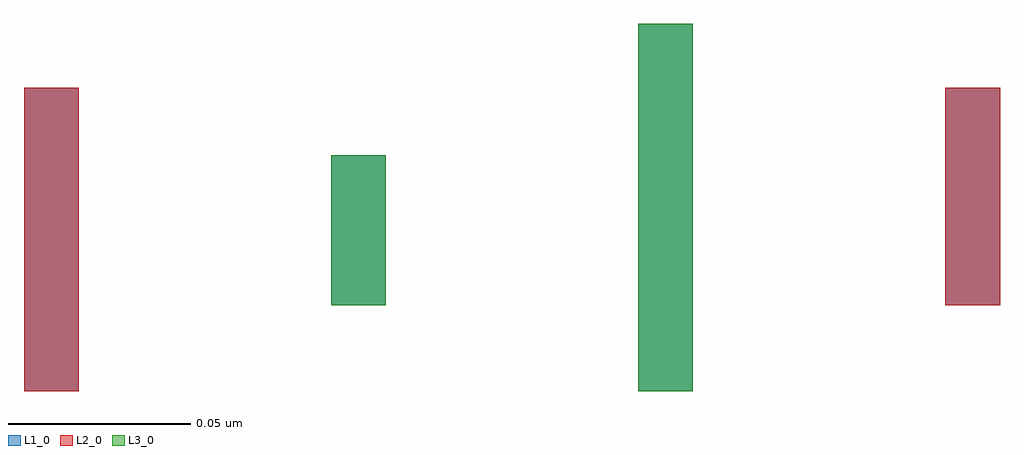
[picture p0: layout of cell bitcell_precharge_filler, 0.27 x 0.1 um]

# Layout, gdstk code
import gdstk
lib = gdstk.Library(unit=1e-6, precision=5e-10)
def R(c, l, rs):  # rectangles x0, y0, x1, y1
    for r in rs: c.add(gdstk.rectangle(r[:2], r[2:], *l))
L1_0 = (1, 0)
L2_0 = (2, 0)
L3_0 = (3, 0)

bitcell_precharge_filler = lib.new_cell('bitcell_precharge_filler')
R(bitcell_precharge_filler, L1_0, [(-0.134,-0.0515,-0.119,0.0315), (0.034,-0.0515,0.049,0.049), (-0.05,-0.028,-0.035,0.013), (0.118,-0.028,0.133,0.0315)])
R(bitcell_precharge_filler, L2_0, [(-0.134,-0.0515,-0.119,0.0315), (0.118,-0.028,0.133,0.0315)])
R(bitcell_precharge_filler, L3_0, [(0.034,-0.0515,0.049,0.049), (-0.05,-0.028,-0.035,0.013)])

lib.write_gds('bitcell_precharge_filler.gds')
